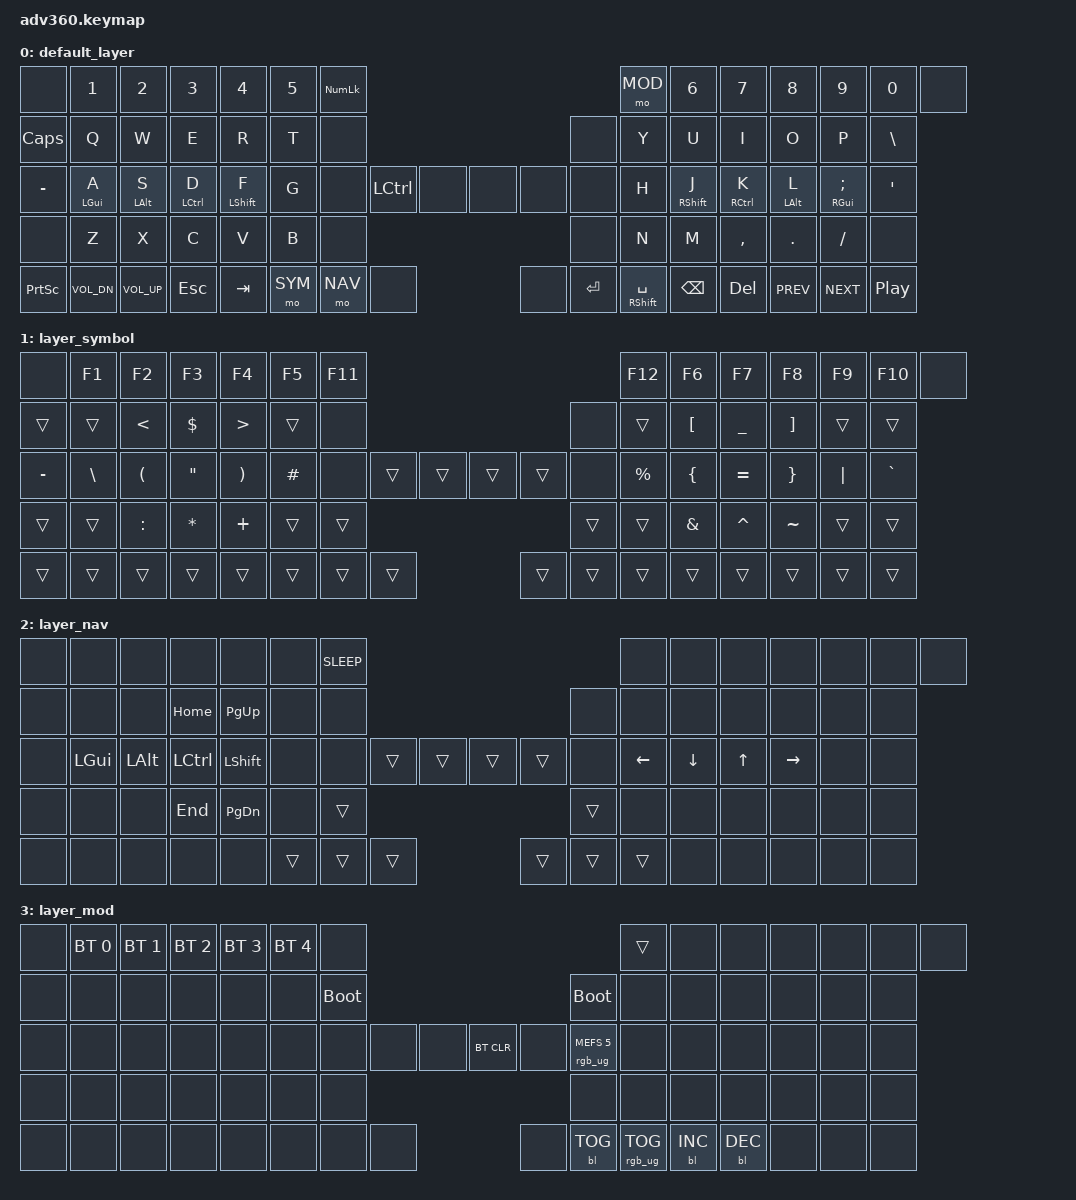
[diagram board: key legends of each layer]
#include <behaviors.dtsi>
#include <dt-bindings/zmk/keys.h>
#include <dt-bindings/zmk/bt.h>
#include <dt-bindings/zmk/rgb.h>
#include <dt-bindings/zmk/backlight.h>

#define KEYS_LEFT     0  1  2  3  4  5  6 \
                     14 15 16 17 18 19 20 \
                     28 29 30 31 32 33 34 \
                     46 47 48 49 50 51    \
                     60 61 62 63 64

#define KEYS_RIGHT    7  8  9 10 11 12 13 \
                     21 22 23 24 25 26 27 \
                     39 40 41 42 43 44 45 \
                        54 55 56 57 58 59 \
                           71 72 73 74 75

#define THUMBS_LEFT     35 36 \
                           52 \
                     65 66 67 \

#define THUMBS_RIGHT 37 38    \
                     53       \
                     68 69 70 \

#define THUMBS THUMBS_LEFT THUMBS_RIGHT

// Layers
#define BASE 0
#define SYM 1
#define NAV 2
#define MOD 3

#define XXX &none
#define ___ &trans

/ {
    behaviors {
        #include "macros.dtsi"
        #include "version.dtsi"
        #ifndef VERSION_MACRO
        macro_ver: macro_ver {
            compatible = "zmk,behavior-macro";
            label = "macro_version";
            #binding-cells = <0>;
            bindings = <&kp RET>;
        };
        #endif

        // TODO: maybe parameterize these or something to avoid repeated config

        // home row mods for slower/weaker fingers
        xl: slow_homerow_mods_left {
            compatible = "zmk,behavior-hold-tap";
            label = "SLOW_HOMEROW_MODS_LEFT";
            bindings = <&kp>, <&kp>;
            #binding-cells = <2>;

            flavor = "tap-preferred";
            tapping-term-ms = <200>;
            quick-tap-ms = <175>;
            hold-trigger-key-positions = <KEYS_RIGHT>;
            hold-trigger-on-release;
        };

        xr: slow_homerow_mods_right {
            compatible = "zmk,behavior-hold-tap";
            label = "SLOW_HOMEROW_MODS_RIGHT";
            bindings = <&kp>, <&kp>;
            #binding-cells = <2>;

            flavor = "tap-preferred";
            tapping-term-ms = <200>;
            quick-tap-ms = <175>;
            hold-trigger-key-positions = <KEYS_LEFT>;
            hold-trigger-on-release;
        };

        // regular home row mods
        hl: homerow_mods_left {
            compatible = "zmk,behavior-hold-tap";
            label = "HOMEROW_MODS_LEFT";
            bindings = <&kp>, <&kp>;
            #binding-cells = <2>;

            flavor = "balanced";
            tapping-term-ms = <200>;
            quick-tap-ms = <175>;
            hold-trigger-key-positions = <KEYS_RIGHT>;
            hold-trigger-on-release;
        };

        hr: homerow_mods_right {
            compatible = "zmk,behavior-hold-tap";
            label = "HOMEROW_MODS_RIGHT";
            bindings = <&kp>, <&kp>;
            #binding-cells = <2>;

            flavor = "balanced";
            tapping-term-ms = <200>;
            quick-tap-ms = <175>;
            hold-trigger-key-positions = <KEYS_LEFT>;
            hold-trigger-on-release;
        };

        tm: thumb_mod {
            compatible = "zmk,behavior-hold-tap";
            label = "THUMB_MOD";
            bindings = <&kp>, <&kp>;
            #binding-cells = <2>;

            flavor = "balanced";
            tapping-term-ms = <200>;
            quick-tap-ms = <175>;
        };
    };

    keymap {
        compatible = "zmk,keymap";

        default_layer {
            bindings = <
             XXX        &kp N1        &kp N2       &kp N3       &kp N4  &kp N5  &kp KP_NUM                                                                     &mo MOD  &kp N6       &kp N7       &kp N8      &kp N9         &kp N0               XXX
        &kp CAPS         &kp Q         &kp W        &kp E        &kp R   &kp T         XXX                                                                         XXX   &kp Y        &kp U        &kp I       &kp O          &kp P          &kp BSLH
       &kp MINUS    &xl LGUI A    &hl LALT S  &hl LCTRL D  &hl LSHFT F   &kp G         XXX  &kp LCTRL       XXX                        XXX        XXX              XXX   &kp H  &hr RSHFT J  &hr RCTRL K  &hr LALT L  &xr RGUI SEMI           &kp SQT
             XXX         &kp Z         &kp X        &kp C        &kp V   &kp B                              XXX                        XXX                               &kp N        &kp M    &kp COMMA     &kp DOT       &kp FSLH               XXX
 &kp PRINTSCREEN  &kp C_VOL_DN  &kp C_VOL_UP      &kp ESC      &kp TAB             &mo SYM   &mo NAV        XXX                        XXX  &kp ENTER  &tm RSHFT SPACE             &kp BSPC      &kp DEL  &kp C_PREV     &kp C_NEXT  &kp C_PLAY_PAUSE
            >;
        };

        layer_symbol {
            bindings = <
       XXX         &kp F1                &kp F2             &kp F3                 &kp F4    &kp F5            &kp F11                                                  &kp F12       &kp F6            &kp F7     &kp F8             &kp F9   &kp F10        XXX
       ___            ___         &kp LESS_THAN         &kp DOLLAR       &kp GREATER_THAN       ___                XXX                                                      XXX          ___  &kp LEFT_BRACKET  &kp UNDER  &kp RIGHT_BRACKET       ___        ___
 &kp MINUS  &kp BACKSLASH  &kp LEFT_PARENTHESIS  &kp DOUBLE_QUOTES  &kp RIGHT_PARENTHESIS  &kp HASH                XXX     ___     ___                     ___     ___      XXX  &kp PERCENT    &kp LEFT_BRACE  &kp EQUAL    &kp RIGHT_BRACE  &kp PIPE  &kp GRAVE
       ___            ___             &kp COLON           &kp STAR               &kp PLUS       ___                                ___                     ___                           ___     &kp AMPERSAND  &kp CARET          &kp TILDE       ___        ___
       ___            ___                   ___                ___                    ___                          ___     ___     ___                     ___     ___      ___                            ___        ___                ___       ___        ___
            >;
        };

        layer_nav {
            bindings = <
       XXX            XXX                   XXX                XXX                    XXX       XXX        &kp C_SLEEP                                                      XXX          XXX               XXX        XXX                XXX       XXX        XXX
       XXX            XXX                   XXX           &kp HOME              &kp PG_UP       XXX                XXX                                                      XXX          XXX               XXX        XXX                XXX       XXX        XXX
       XXX       &kp LGUI              &kp LALT          &kp LCTRL             &kp LSHIFT       XXX                XXX     ___     ___                     ___     ___      XXX     &kp LEFT          &kp DOWN     &kp UP          &kp RIGHT       XXX        XXX
       XXX            XXX                   XXX            &kp END              &kp PG_DN       XXX                                ___                     ___                           XXX               XXX        XXX                XXX       XXX        XXX
       XXX            XXX                   XXX                XXX                    XXX                          ___     ___     ___                     ___     ___      ___                            XXX        XXX                XXX       XXX        XXX
            >;
        };

        layer_mod {
            bindings = <
    XXX  &bt BT_SEL 0  &bt BT_SEL 1  &bt BT_SEL 2  &bt BT_SEL 3  &bt BT_SEL 4                    XXX                                                                             ___     XXX         XXX         XXX     XXX     XXX     XXX
    XXX           XXX           XXX           XXX           XXX           XXX            &bootloader                                                                     &bootloader     XXX         XXX         XXX     XXX     XXX     XXX
    XXX           XXX           XXX           XXX           XXX           XXX                    XXX     XXX     XXX                  &bt BT_CLR         XXX  &rgb_ug RGB_MEFS_CMD 5     XXX         XXX         XXX     XXX     XXX     XXX
    XXX           XXX           XXX           XXX           XXX           XXX                                    XXX                         XXX                                         XXX         XXX         XXX     XXX     XXX     XXX
    XXX           XXX           XXX           XXX           XXX                                  XXX     XXX     XXX                         XXX  &bl BL_TOG         &rgb_ug RGB_TOG          &bl BL_INC  &bl BL_DEC     XXX     XXX     XXX
            >;
        };

    };
};
